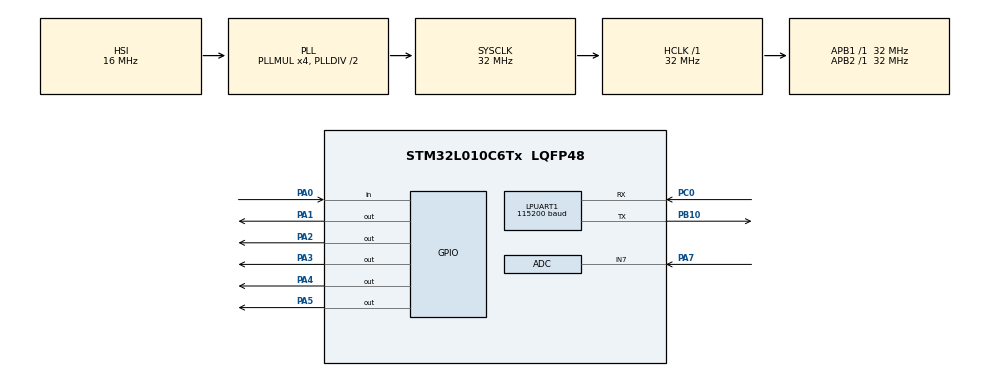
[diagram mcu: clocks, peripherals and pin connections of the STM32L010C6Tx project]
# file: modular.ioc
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ADC.ClockPrescaler=ADC_CLOCK_ASYNC_DIV32
ADC.ContinuousConvMode=ENABLE
ADC.DMAContinuousRequests=ENABLE
ADC.DataAlign=ADC_DATAALIGN_RIGHT
ADC.EOCSelection=ADC_EOC_SINGLE_CONV
ADC.Resolution=ADC_RESOLUTION_12B
ADC.SamplingTime=ADC_SAMPLETIME_12CYCLES_5
Dma.ADC.0.Direction=DMA_PERIPH_TO_MEMORY
Dma.ADC.0.Instance=DMA1_Channel1
Dma.ADC.0.MemDataAlignment=DMA_MDATAALIGN_HALFWORD
Dma.ADC.0.MemInc=DMA_MINC_ENABLE
Dma.ADC.0.Mode=DMA_CIRCULAR
Dma.ADC.0.PeriphDataAlignment=DMA_PDATAALIGN_HALFWORD
Dma.ADC.0.PeriphInc=DMA_PINC_DISABLE
Dma.ADC.0.Priority=DMA_PRIORITY_LOW
Dma.Request0=ADC
LPUART1.BaudRate=115200
Mcu.Family=STM32L0
Mcu.Name=STM32L010C6Tx
Mcu.Package=LQFP48
NVIC.DMA1_Channel1_IRQn=true\:0\:0\:false\:false\:true\:false\:true\:true
PA0.Signal=GPIO_Input
PA1.Signal=GPIO_Output
PA2.Signal=GPIO_Output
PA3.Signal=GPIO_Output
PA4.Signal=GPIO_Output
PA5.Signal=GPIO_Output
PA7.Mode=IN7
PA7.Signal=ADC_IN7
PB10.Mode=Asynchronous
PB10.Signal=LPUART1_TX
PC0.Mode=Asynchronous
PC0.Signal=LPUART1_RX
ProjectManager.HeapSize=0x200
ProjectManager.StackSize=0x400
ProjectManager.TargetToolchain=STM32CubeIDE
RCC.AHBFreq_Value=32000000
RCC.APB1Freq_Value=32000000
RCC.APB1TimFreq_Value=32000000
RCC.APB2Freq_Value=32000000
RCC.APB2TimFreq_Value=32000000
RCC.HCLKFreq_Value=32000000
RCC.HSE_VALUE=8000000
RCC.HSI16_VALUE=16000000
RCC.HSI_VALUE=16000000
RCC.LSE_VALUE=32768
RCC.MSI_VALUE=2097000
RCC.PLLMUL=RCC_PLLMUL_4
RCC.SYSCLKFreq_VALUE=32000000
RCC.SYSCLKSource=RCC_SYSCLKSOURCE_PLLCLK
RCC.VCOOutputFreq_Value=64000000
board=custom

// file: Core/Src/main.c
/* USER CODE BEGIN Header */
/**
  ******************************************************************************
  * @file           : main.c
  * @brief          : Main program body
  ******************************************************************************
  * @attention
  *
  * Copyright (c) 2024 STMicroelectronics.
  * All rights reserved.
  *
  * This software is licensed under terms that can be found in the LICENSE file
  * in the root directory of this software component.
  * If no LICENSE file comes with this software, it is provided AS-IS.
  *
  ******************************************************************************
  */
/* USER CODE END Header */
#include "main.h"

/* USER CODE BEGIN Includes */
#include "stdbool.h"
#include "stdio.h"
#include "string.h"
#include <stdarg.h>
/* USER CODE END Includes */

/* USER CODE BEGIN PD */
#define ADC_BUFFER_SIZE 1 // Reduced to 1 as we only need the latest reading
#define ADC_MIN     2459    // ADC reading at 9.0V
#define ADC_MAX     3495    // ADC reading at 12.6V
#define VOLT_MIN    9.0f    // Minimum battery voltage
#define VOLT_MAX    12.6f   // Maximum battery voltage
#define BLINK_INTERVAL 500 // 500ms blink interval

/* USER CODE END PD */

ADC_HandleTypeDef hadc;
DMA_HandleTypeDef hdma_adc;

UART_HandleTypeDef hlpuart1;

/* USER CODE BEGIN PV */
#define VOLT_HIGH_FULL     11.8f   // Threshold to transition to green
#define VOLT_LOW_FULL      11.6f   // Threshold to transition from green
#define VOLT_HIGH_MEDIUM   10.0f   // Threshold to transition to yellow
#define VOLT_LOW_MEDIUM    9.8f    // Threshold to transition from yellow
volatile uint16_t adc_buffer[ADC_BUFFER_SIZE] = {0};
volatile uint8_t adc_conversion_complete = 0;
const uint32_t UPDATE_INTERVAL = 1000; // 1000ms = 1 second
uint32_t last_update_time = 0;
volatile uint16_t adc_val = 0;
float voltage = 0.0f;
volatile uint32_t last_blink_time = 0;
volatile bool blink_state = false;
struct Button_t {
    GPIO_TypeDef *port;
    uint16_t pin;
    uint32_t last_debounce_time;
    uint32_t debounce_delay;
    bool last_state;
    bool state;
};

struct Button_t power_button = {
    .port = GPIOA,
    .pin = GPIO_PIN_0,
    .debounce_delay = 50,  // 50ms debounce time
    .last_state = false,
    .state = false
};

bool device_on = false;
/* USER CODE END PV */

void SystemClock_Config(void);
static void MX_GPIO_Init(void);
static void MX_DMA_Init(void);
static void MX_ADC_Init(void);
static void MX_LPUART1_UART_Init(void);
/* USER CODE BEGIN PFP */
bool check_button(struct Button_t *button);
void update_system_state(void);
void update_rgb_led(float voltage);
float my_map(float x, float in_min, float in_max, float out_min, float out_max);
/* USER CODE END PFP */

/* USER CODE BEGIN 0 */

bool check_button(struct Button_t *button)
{
    bool reading = HAL_GPIO_ReadPin(button->port, button->pin) == GPIO_PIN_SET;
    uint32_t current_time = HAL_GetTick();
    bool result = false;

    if (reading != button->last_state) {
        button->last_debounce_time = current_time;
    }

    if ((current_time - button->last_debounce_time) > button->debounce_delay) {
        if (reading != button->state) {
            button->state = reading;
            if (button->state == true) {
                result = true;  // Button was pressed
            }
        }
    }

    button->last_state = reading;
    return result;
}
void update_rgb_led(float voltage)
{
    static uint8_t current_state = 0; // 0: red, 1: yellow, 2: green
    uint32_t current_time = HAL_GetTick();

    // State transitions with additional critical low voltage state
        if (voltage < 9.2f) { // Critical low voltage
            current_state = 3; // Blinking red state
        }
        else if (current_state == 3 && voltage >= 9.6f) { // Return to red state when voltage recovers
            current_state = 0; // Solid red
        }
        else if (current_state == 0) { // Currently RED
            if (voltage >= VOLT_HIGH_MEDIUM) {
                current_state = 1; // Switch to YELLOW
            }
        }
        else if (current_state == 1) { // Currently YELLOW
            if (voltage >= VOLT_HIGH_FULL) {
                current_state = 2; // Switch to GREEN
            }
            else if (voltage < VOLT_LOW_MEDIUM) {
                current_state = 0; // Switch to RED
            }
        }
        else if (current_state == 2) { // Currently GREEN
            if (voltage < VOLT_LOW_FULL) {
                current_state = 1; // Switch to YELLOW
            }
        }

    // Set LED states based on current_state
    switch (current_state) {
    	case 3: // Critical LOW - Blinking RED
        if (current_time - last_blink_time >= BLINK_INTERVAL) {
            last_blink_time = current_time;
            blink_state = !blink_state;
        }
        HAL_GPIO_WritePin(GPIOA, GPIO_PIN_1, GPIO_PIN_RESET); // Green OFF
        HAL_GPIO_WritePin(GPIOA, GPIO_PIN_2, GPIO_PIN_RESET); // Blue OFF
        HAL_GPIO_WritePin(GPIOA, GPIO_PIN_3, blink_state ? GPIO_PIN_SET : GPIO_PIN_RESET); // Red Blinking
        break;
        case 2: // GREEN - Full battery
            HAL_GPIO_WritePin(GPIOA, GPIO_PIN_1, GPIO_PIN_SET);   // Green ON
            HAL_GPIO_WritePin(GPIOA, GPIO_PIN_2, GPIO_PIN_RESET); // Blue OFF
            HAL_GPIO_WritePin(GPIOA, GPIO_PIN_3, GPIO_PIN_RESET); // Red OFF
            break;

        case 1: // YELLOW - Medium battery
            HAL_GPIO_WritePin(GPIOA, GPIO_PIN_1, GPIO_PIN_SET);   // Green ON
            HAL_GPIO_WritePin(GPIOA, GPIO_PIN_2, GPIO_PIN_RESET); // Blue OFF
            HAL_GPIO_WritePin(GPIOA, GPIO_PIN_3, GPIO_PIN_SET);   // Red ON
            break;

        case 0: // RED - Low battery
        default:
            HAL_GPIO_WritePin(GPIOA, GPIO_PIN_1, GPIO_PIN_RESET); // Green OFF
            HAL_GPIO_WritePin(GPIOA, GPIO_PIN_2, GPIO_PIN_RESET); // Blue OFF
            HAL_GPIO_WritePin(GPIOA, GPIO_PIN_3, GPIO_PIN_SET);   // Red ON
            break;
    }
}

void update_system_state(void)
{
    if (adc_conversion_complete) {
        adc_conversion_complete = 0;
        adc_val = adc_buffer[0];

        // Calculate voltage using calibrated values
        voltage = my_map(adc_val, ADC_MIN, ADC_MAX, VOLT_MIN, VOLT_MAX);

        // Clamp voltage to valid range
        if (voltage > VOLT_MAX) voltage = VOLT_MAX;
        if (voltage < VOLT_MIN) voltage = VOLT_MIN;

        update_rgb_led(voltage);
    }
}

float my_map(float x, float in_min, float in_max, float out_min, float out_max) {
    return (x - in_min) * (out_max - out_min) / (in_max - in_min) + out_min;
}

void HAL_ADC_ConvCpltCallback(ADC_HandleTypeDef* hadc)
{
    adc_conversion_complete = 1;
}

/* USER CODE END 0 */

int main(void)
{

  /* MCU Configuration--------------------------------------------------------*/

  /* Reset of all peripherals, Initializes the Flash interface and the Systick. */
  HAL_Init();

  /* Configure the system clock */
  SystemClock_Config();

  /* Initialize all configured peripherals */
  MX_GPIO_Init();
  MX_DMA_Init();
  MX_ADC_Init();
  MX_LPUART1_UART_Init();
  /* USER CODE BEGIN 2 */

  /* Start ADC with DMA */
  HAL_ADC_Start_DMA(&hadc, (uint32_t *)adc_buffer, ADC_BUFFER_SIZE);
  /* USER CODE END 2 */

  /* Infinite loop */
  while (1)
  {

    /* USER CODE BEGIN 3 */
	    // Continuously check button
	    if (check_button(&power_button)) {
	      device_on = !device_on;

	      // Immediately update LED states when button is pressed
	      if (!device_on) {
	        // Turn off all LEDs immediately when device is turned off
	        HAL_GPIO_WritePin(GPIOA, GPIO_PIN_1 | GPIO_PIN_2 | GPIO_PIN_3 | GPIO_PIN_4 | GPIO_PIN_5, GPIO_PIN_RESET);
	      } else {
	        // Turn on power LED immediately when device is turned on
	        HAL_GPIO_WritePin(GPIOA, GPIO_PIN_5, GPIO_PIN_SET);
	        HAL_GPIO_WritePin(GPIOA, GPIO_PIN_4, GPIO_PIN_SET);
	      }
	    }

	    // Update ADC and RGB LEDs every UPDATE_INTERVAL if device is on
	    uint32_t current_time = HAL_GetTick();
	    if (device_on && (current_time - last_update_time >= UPDATE_INTERVAL)) {
	      update_system_state();
	      last_update_time = current_time;
	    }
	  }

  /* USER CODE END 3 */
}

void SystemClock_Config(void)
{
  RCC_OscInitTypeDef RCC_OscInitStruct = {0};
  RCC_ClkInitTypeDef RCC_ClkInitStruct = {0};
  RCC_PeriphCLKInitTypeDef PeriphClkInit = {0};

  /** Configure the main internal regulator output voltage
  */
  __HAL_PWR_VOLTAGESCALING_CONFIG(PWR_REGULATOR_VOLTAGE_SCALE1);

  /** Initializes the RCC Oscillators according to the specified parameters
  * in the RCC_OscInitTypeDef structure.
  */
  RCC_OscInitStruct.OscillatorType = RCC_OSCILLATORTYPE_HSI;
  RCC_OscInitStruct.HSIState = RCC_HSI_ON;
  RCC_OscInitStruct.HSICalibrationValue = RCC_HSICALIBRATION_DEFAULT;
  RCC_OscInitStruct.PLL.PLLState = RCC_PLL_ON;
  RCC_OscInitStruct.PLL.PLLSource = RCC_PLLSOURCE_HSI;
  RCC_OscInitStruct.PLL.PLLMUL = RCC_PLLMUL_4;
  RCC_OscInitStruct.PLL.PLLDIV = RCC_PLLDIV_2;
  if (HAL_RCC_OscConfig(&RCC_OscInitStruct) != HAL_OK)
  {
    Error_Handler();
  }

  /** Initializes the CPU, AHB and APB buses clocks
  */
  RCC_ClkInitStruct.ClockType = RCC_CLOCKTYPE_HCLK|RCC_CLOCKTYPE_SYSCLK
                              |RCC_CLOCKTYPE_PCLK1|RCC_CLOCKTYPE_PCLK2;
  RCC_ClkInitStruct.SYSCLKSource = RCC_SYSCLKSOURCE_PLLCLK;
  RCC_ClkInitStruct.AHBCLKDivider = RCC_SYSCLK_DIV1;
  RCC_ClkInitStruct.APB1CLKDivider = RCC_HCLK_DIV1;
  RCC_ClkInitStruct.APB2CLKDivider = RCC_HCLK_DIV1;

  if (HAL_RCC_ClockConfig(&RCC_ClkInitStruct, FLASH_LATENCY_1) != HAL_OK)
  {
    Error_Handler();
  }
  PeriphClkInit.PeriphClockSelection = RCC_PERIPHCLK_LPUART1;
  PeriphClkInit.Lpuart1ClockSelection = RCC_LPUART1CLKSOURCE_PCLK1;
  if (HAL_RCCEx_PeriphCLKConfig(&PeriphClkInit) != HAL_OK)
  {
    Error_Handler();
  }
}

static void MX_ADC_Init(void)
{

  ADC_ChannelConfTypeDef sConfig = {0};

  /** Configure the global features of the ADC (Clock, Resolution, Data Alignment and number of conversion)
  */
  hadc.Instance = ADC1;
  hadc.Init.OversamplingMode = DISABLE;
  hadc.Init.ClockPrescaler = ADC_CLOCK_ASYNC_DIV32;
  hadc.Init.Resolution = ADC_RESOLUTION_12B;
  hadc.Init.SamplingTime = ADC_SAMPLETIME_12CYCLES_5;
  hadc.Init.ScanConvMode = ADC_SCAN_DIRECTION_FORWARD;
  hadc.Init.DataAlign = ADC_DATAALIGN_RIGHT;
  hadc.Init.ContinuousConvMode = ENABLE;
  hadc.Init.DiscontinuousConvMode = DISABLE;
  hadc.Init.ExternalTrigConvEdge = ADC_EXTERNALTRIGCONVEDGE_NONE;
  hadc.Init.ExternalTrigConv = ADC_SOFTWARE_START;
  hadc.Init.DMAContinuousRequests = ENABLE;
  hadc.Init.EOCSelection = ADC_EOC_SINGLE_CONV;
  hadc.Init.Overrun = ADC_OVR_DATA_PRESERVED;
  hadc.Init.LowPowerAutoWait = DISABLE;
  hadc.Init.LowPowerFrequencyMode = ENABLE;
  hadc.Init.LowPowerAutoPowerOff = DISABLE;
  if (HAL_ADC_Init(&hadc) != HAL_OK)
  {
    Error_Handler();
  }

  /** Configure for the selected ADC regular channel to be converted.
  */
  sConfig.Channel = ADC_CHANNEL_7;
  sConfig.Rank = ADC_RANK_CHANNEL_NUMBER;
  if (HAL_ADC_ConfigChannel(&hadc, &sConfig) != HAL_OK)
  {
    Error_Handler();
  }
  /* USER CODE BEGIN ADC_Init 2 */
  // Start ADC with DMA

  /* USER CODE END ADC_Init 2 */

}

static void MX_LPUART1_UART_Init(void)
{

  hlpuart1.Instance = LPUART1;
  hlpuart1.Init.BaudRate = 115200;
  hlpuart1.Init.WordLength = UART_WORDLENGTH_7B;
  hlpuart1.Init.StopBits = UART_STOPBITS_1;
  hlpuart1.Init.Parity = UART_PARITY_NONE;
  hlpuart1.Init.Mode = UART_MODE_TX_RX;
  hlpuart1.Init.HwFlowCtl = UART_HWCONTROL_NONE;
  hlpuart1.Init.OneBitSampling = UART_ONE_BIT_SAMPLE_DISABLE;
  hlpuart1.AdvancedInit.AdvFeatureInit = UART_ADVFEATURE_NO_INIT;
  if (HAL_UART_Init(&hlpuart1) != HAL_OK)
  {
    Error_Handler();
  }

}

static void MX_DMA_Init(void)
{

  /* DMA controller clock enable */
  __HAL_RCC_DMA1_CLK_ENABLE();

  /* DMA interrupt init */
  /* DMA1_Channel1_IRQn interrupt configuration */
  HAL_NVIC_SetPriority(DMA1_Channel1_IRQn, 0, 0);
  HAL_NVIC_EnableIRQ(DMA1_Channel1_IRQn);

}

static void MX_GPIO_Init(void)
{
  GPIO_InitTypeDef GPIO_InitStruct = {0};

  /* GPIO Ports Clock Enable */
  __HAL_RCC_GPIOC_CLK_ENABLE();
  __HAL_RCC_GPIOA_CLK_ENABLE();
  __HAL_RCC_GPIOB_CLK_ENABLE();

  /*Configure GPIO pin Output Level */
  HAL_GPIO_WritePin(GPIOA, GPIO_PIN_1|GPIO_PIN_2|GPIO_PIN_3|GPIO_PIN_4
                          |GPIO_PIN_5, GPIO_PIN_RESET);

  /*Configure GPIO pin : PA0 */
  GPIO_InitStruct.Pin = GPIO_PIN_0;
  GPIO_InitStruct.Mode = GPIO_MODE_INPUT;
  GPIO_InitStruct.Pull = GPIO_NOPULL;
  HAL_GPIO_Init(GPIOA, &GPIO_InitStruct);

  /*Configure GPIO pins : PA1 PA2 PA3 PA4
                           PA5 */
  GPIO_InitStruct.Pin = GPIO_PIN_1|GPIO_PIN_2|GPIO_PIN_3|GPIO_PIN_4
                          |GPIO_PIN_5;
  GPIO_InitStruct.Mode = GPIO_MODE_OUTPUT_PP;
  GPIO_InitStruct.Pull = GPIO_NOPULL;
  GPIO_InitStruct.Speed = GPIO_SPEED_FREQ_LOW;
  HAL_GPIO_Init(GPIOA, &GPIO_InitStruct);

}

void Error_Handler(void)
{
  __disable_irq();
  while (1)
  {
  }
}
